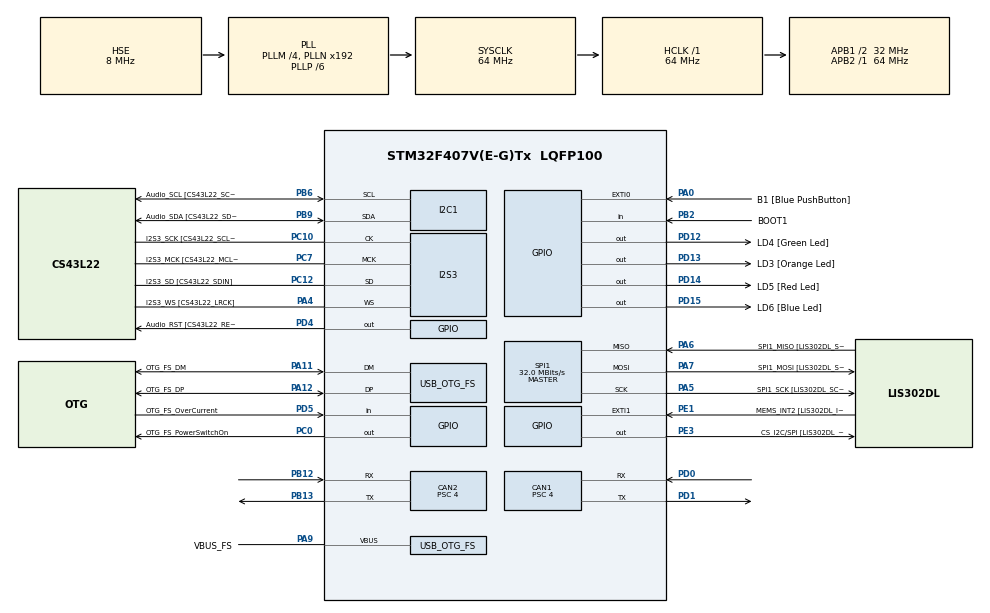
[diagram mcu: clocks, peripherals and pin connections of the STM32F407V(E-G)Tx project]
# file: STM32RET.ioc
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CAN1.BS1=CAN_BS1_13TQ
CAN1.BS2=CAN_BS2_2TQ
CAN1.CalculateBaudRate=500000
CAN1.CalculateTimeBit=2000
CAN1.CalculateTimeQuantum=125.0
CAN1.Mode=CAN_MODE_NORMAL
CAN1.Prescaler=4
CAN2.BS1=CAN_BS1_13TQ
CAN2.BS2=CAN_BS2_2TQ
CAN2.CalculateBaudRate=500000
CAN2.CalculateTimeBit=2000
CAN2.CalculateTimeQuantum=125.0
CAN2.Prescaler=4
I2S3.AudioFreq=I2S_AUDIOFREQ_32K
I2S3.AudioFreq-Half_Duplex_Master=I2S_AUDIOFREQ_96K
I2S3.ErrorAudioFreq=1.72 %
I2S3.ErrorAudioFreq-Half_Duplex_Master=0.8 %
I2S3.FullDuplexMode=I2S_FULLDUPLEXMODE_DISABLE
I2S3.Instance=SPI$Index
I2S3.RealAudioFreq=32.552 KHz
I2S3.RealAudioFreq-Half_Duplex_Master=96.774 KHz
I2S3.VirtualMode=I2S_MODE_MASTER
Mcu.Family=STM32F4
Mcu.Name=STM32F407V(E-G)Tx
Mcu.Package=LQFP100
NVIC.CAN1_RX0_IRQn=true\:0\:0\:false\:false\:true\:true\:true\:true
NVIC.CAN2_RX0_IRQn=true\:0\:0\:false\:false\:true\:true\:true\:true
NVIC.OTG_FS_IRQn=true\:0\:0\:false\:false\:true\:true\:true\:true
NVIC.PriorityGroup=NVIC_PRIORITYGROUP_0
PA0-WKUP.GPIO_Label=B1 [Blue PushButton]
PA0-WKUP.GPIO_ModeDefaultEXTI=GPIO_MODE_EVT_RISING
PA0-WKUP.GPIO_PuPd=GPIO_NOPULL
PA0-WKUP.Signal=GPXTI0
PA10.GPIO_Label=OTG_FS_ID
PA10.GPIO_Mode=GPIO_MODE_AF_PP
PA10.GPIO_PuPd=GPIO_NOPULL
PA10.GPIO_Speed=GPIO_SPEED_FREQ_LOW
PA10.Signal=USB_OTG_FS_ID
PA11.GPIO_Label=OTG_FS_DM
PA11.GPIO_Mode=GPIO_MODE_AF_PP
PA11.GPIO_PuPd=GPIO_NOPULL
PA11.GPIO_Speed=GPIO_SPEED_FREQ_LOW
PA11.Mode=Device_Only
PA11.Signal=USB_OTG_FS_DM
PA12.GPIO_Label=OTG_FS_DP
PA12.GPIO_Mode=GPIO_MODE_AF_PP
PA12.GPIO_PuPd=GPIO_NOPULL
PA12.GPIO_Speed=GPIO_SPEED_FREQ_LOW
PA12.Mode=Device_Only
PA12.Signal=USB_OTG_FS_DP
PA13.GPIO_Label=SWDIO
PA13.Mode=Serial_Wire
PA13.Signal=SYS_JTMS-SWDIO
PA14.GPIO_Label=SWCLK
PA14.Mode=Serial_Wire
PA14.Signal=SYS_JTCK-SWCLK
PA4.GPIO_Label=I2S3_WS [CS43L22_LRCK]
PA4.GPIO_Mode=GPIO_MODE_AF_PP
PA4.GPIO_PuPd=GPIO_NOPULL
PA4.GPIO_Speed=GPIO_SPEED_FREQ_LOW
PA4.Mode=Half_Duplex_Master
PA4.Signal=I2S3_WS
PA5.GPIO_Label=SPI1_SCK [LIS302DL_SCL/SPC]
PA5.GPIO_Mode=GPIO_MODE_AF_PP
PA5.GPIO_PuPd=GPIO_NOPULL
PA5.GPIO_Speed=GPIO_SPEED_FREQ_LOW
PA5.Mode=Full_Duplex_Master
PA5.Signal=SPI1_SCK
PA6.GPIO_Label=SPI1_MISO [LIS302DL_SDO]
PA6.GPIO_Mode=GPIO_MODE_AF_PP
PA6.GPIO_PuPd=GPIO_NOPULL
PA6.GPIO_Speed=GPIO_SPEED_FREQ_LOW
PA6.Mode=Full_Duplex_Master
PA6.Signal=SPI1_MISO
PA7.GPIO_Label=SPI1_MOSI [LIS302DL_SDA/SDI/SDO]
PA7.GPIO_Mode=GPIO_MODE_AF_PP
PA7.GPIO_PuPd=GPIO_NOPULL
PA7.GPIO_Speed=GPIO_SPEED_FREQ_LOW
PA7.Mode=Full_Duplex_Master
PA7.Signal=SPI1_MOSI
PA9.GPIO_Label=VBUS_FS
PA9.GPIO_Mode=GPIO_MODE_INPUT
PA9.GPIO_PuPd=GPIO_NOPULL
PA9.Mode=Activate_VBUS
PA9.Signal=USB_OTG_FS_VBUS
PB10.GPIO_Label=CLK_IN [MP45DT02_CLK]
PB10.GPIO_Mode=GPIO_MODE_AF_PP
PB10.GPIO_PuPd=GPIO_NOPULL
PB10.GPIO_Speed=GPIO_SPEED_FREQ_LOW
PB10.Signal=I2S2_CK
PB12.GPIO_PuPd=GPIO_NOPULL
PB12.GPIO_Speed=GPIO_SPEED_FREQ_MEDIUM
PB12.Mode=CAN_Activate
PB12.Signal=CAN2_RX
PB13.GPIO_Speed=GPIO_SPEED_FREQ_MEDIUM
PB13.Mode=CAN_Activate
PB13.Signal=CAN2_TX
PB2.GPIO_Label=BOOT1
PB2.GPIO_Mode=GPIO_MODE_INPUT
PB2.GPIO_PuPd=GPIO_NOPULL
PB2.Signal=GPIO_Input
PB3.GPIO_Label=SWO
PB3.Signal=SYS_JTDO-SWO
PB6.GPIO_Label=Audio_SCL [CS43L22_SCL]
PB6.GPIO_Mode=GPIO_MODE_AF_OD
PB6.GPIO_Pu=GPIO_PULLUP
PB6.GPIO_PuPd=GPIO_NOPULL
PB6.GPIO_Speed=GPIO_SPEED_FREQ_LOW
PB6.Mode=I2C
PB6.Signal=I2C1_SCL
PB9.GPIO_Label=Audio_SDA [CS43L22_SDA]
PB9.GPIO_Mode=GPIO_MODE_AF_OD
PB9.GPIO_Pu=GPIO_PULLUP
PB9.GPIO_PuPd=GPIO_NOPULL
PB9.GPIO_Speed=GPIO_SPEED_FREQ_LOW
PB9.Mode=I2C
PB9.Signal=I2C1_SDA
PC0.GPIO_Label=OTG_FS_PowerSwitchOn
PC0.GPIO_PuPd=GPIO_NOPULL
PC0.GPIO_Speed=GPIO_SPEED_FREQ_LOW
PC0.PinState=GPIO_PIN_SET
PC0.Signal=GPIO_Output
PC10.GPIO_Label=I2S3_SCK [CS43L22_SCLK]
PC10.GPIO_Mode=GPIO_MODE_AF_PP
PC10.GPIO_PuPd=GPIO_NOPULL
PC10.GPIO_Speed=GPIO_SPEED_FREQ_LOW
PC10.Mode=Half_Duplex_Master
PC10.Signal=I2S3_CK
PC12.GPIO_Label=I2S3_SD [CS43L22_SDIN]
PC12.GPIO_Mode=GPIO_MODE_AF_PP
PC12.GPIO_PuPd=GPIO_NOPULL
PC12.GPIO_Speed=GPIO_SPEED_FREQ_LOW
PC12.Mode=Half_Duplex_Master
PC12.Signal=I2S3_SD
PC14-OSC32_IN.GPIO_Label=PC14-OSC32_IN
PC14-OSC32_IN.Mode=LSE-External-Oscillator
PC14-OSC32_IN.Signal=RCC_OSC32_IN
PC15-OSC32_OUT.GPIO_Label=PC15-OSC32_OUT
PC15-OSC32_OUT.Mode=LSE-External-Oscillator
PC15-OSC32_OUT.Signal=RCC_OSC32_OUT
PC3.GPIO_Label=PDM_OUT [MP45DT02_DOUT]
PC3.GPIO_Mode=GPIO_MODE_AF_PP
PC3.GPIO_PuPd=GPIO_NOPULL
PC3.GPIO_Speed=GPIO_SPEED_FREQ_LOW
PC3.Signal=I2S2_SD
PC7.GPIO_Label=I2S3_MCK [CS43L22_MCLK]
PC7.GPIO_Mode=GPIO_MODE_AF_PP
PC7.GPIO_PuPd=GPIO_NOPULL
PC7.GPIO_Speed=GPIO_SPEED_FREQ_LOW
PC7.Mode=Master_Clock_Activated
PC7.Signal=I2S3_MCK
PD0.GPIO_PuPd=GPIO_NOPULL
PD0.GPIO_Speed=GPIO_SPEED_FREQ_MEDIUM
PD0.Mode=CAN_Activate
PD0.Signal=CAN1_RX
PD1.GPIO_PuPd=GPIO_NOPULL
PD1.GPIO_Speed=GPIO_SPEED_FREQ_MEDIUM
PD1.Mode=CAN_Activate
PD1.Signal=CAN1_TX
PD12.GPIO_Label=LD4 [Green Led]
PD12.GPIO_PuPd=GPIO_NOPULL
PD12.GPIO_Speed=GPIO_SPEED_FREQ_LOW
PD12.Signal=GPIO_Output
PD13.GPIO_Label=LD3 [Orange Led]
PD13.GPIO_PuPd=GPIO_NOPULL
PD13.GPIO_Speed=GPIO_SPEED_FREQ_LOW
PD13.Signal=GPIO_Output
PD14.GPIO_Label=LD5 [Red Led]
PD14.GPIO_PuPd=GPIO_NOPULL
PD14.GPIO_Speed=GPIO_SPEED_FREQ_LOW
PD14.Signal=GPIO_Output
PD15.GPIO_Label=LD6 [Blue Led]
PD15.GPIO_PuPd=GPIO_NOPULL
PD15.GPIO_Speed=GPIO_SPEED_FREQ_LOW
PD15.Signal=GPIO_Output
PD4.GPIO_Label=Audio_RST [CS43L22_RESET]
PD4.GPIO_PuPd=GPIO_NOPULL
PD4.GPIO_Speed=GPIO_SPEED_FREQ_LOW
PD4.Signal=GPIO_Output
PD5.GPIO_Label=OTG_FS_OverCurrent
PD5.GPIO_Mode=GPIO_MODE_INPUT
PD5.GPIO_PuPd=GPIO_NOPULL
PD5.Signal=GPIO_Input
PE1.GPIO_Label=MEMS_INT2 [LIS302DL_INT2]
PE1.GPIO_ModeDefaultEXTI=GPIO_MODE_EVT_RISING
PE1.GPIO_PuPd=GPIO_NOPULL
PE1.Signal=GPXTI1
PE3.GPIO_Label=CS_I2C/SPI [LIS302DL_CS_I2C/SPI]
PE3.GPIO_PuPd=GPIO_NOPULL
PE3.GPIO_Speed=GPIO_SPEED_FREQ_LOW
PE3.Signal=GPIO_Output
PH0-OSC_IN.GPIO_Label=PH0-OSC_IN
PH0-OSC_IN.Mode=HSE-External-Oscillator
PH0-OSC_IN.Signal=RCC_OSC_IN
PH1-OSC_OUT.GPIO_Label=PH1-OSC_OUT
PH1-OSC_OUT.Mode=HSE-External-Oscillator
PH1-OSC_OUT.Signal=RCC_OSC_OUT
ProjectManager.HeapSize=0x200
ProjectManager.StackSize=0x400
ProjectManager.TargetToolchain=STM32CubeIDE
RCC.48MHZClocksFreq_Value=48000000
RCC.AHBFreq_Value=64000000
RCC.APB1CLKDivider=RCC_HCLK_DIV2
RCC.APB1Freq_Value=32000000
RCC.APB1TimFreq_Value=64000000
RCC.APB2Freq_Value=64000000
RCC.APB2TimFreq_Value=64000000
RCC.CortexFreq_Value=64000000
RCC.HCLKFreq_Value=64000000
RCC.HSE_VALUE=8000000
RCC.HSI_VALUE=16000000
RCC.PLLI2SN=50
RCC.PLLM=4
RCC.PLLP=RCC_PLLP_DIV6
RCC.PLLQ=8
RCC.SYSCLKFreq_VALUE=64000000
RCC.SYSCLKSource=RCC_SYSCLKSOURCE_PLLCLK
RCC.VCOOutputFreq_Value=384000000
SPI1.BaudRatePrescaler-Full_Duplex_Master=SPI_BAUDRATEPRESCALER_2
SPI1.CalculateBaudRate=32.0 MBits/s
SPI1.CalculateBaudRate-Full_Duplex_Master=42.0 MBits/s
SPI1.Direction=SPI_DIRECTION_2LINES
SPI1.Mode=SPI_MODE_MASTER
SPI1.Mode-Full_Duplex_Master=SPI_MODE_MASTER
SPI1.VirtualType=VM_MASTER
USB_DEVICE.CLASS_NAME_FS=CDC
USB_DEVICE.PRODUCT_STRING_CDC_FS=STM32 Virtual dpons ComPort
USB_DEVICE.VirtualMode-CDC_FS=Cdc
USB_DEVICE.VirtualModeFS=Cdc_FS
USB_OTG_FS.VirtualMode=Device_Only
VP_USB_DEVICE_VS_USB_DEVICE_CDC_FS.Mode=CDC_FS
board=STM32F407G-DISC1

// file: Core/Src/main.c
/* USER CODE BEGIN Header */
/**
  ******************************************************************************
  * @file           : main.c
  * @brief          : Main program body
  ******************************************************************************
  * @attention
  *
  * Copyright (c) 2026 STMicroelectronics.
  * All rights reserved.
  *
  * This software is licensed under terms that can be found in the LICENSE file
  * in the root directory of this software component.
  * If no LICENSE file comes with this software, it is provided AS-IS.
  *
  ******************************************************************************
  */
/* USER CODE END Header */
#include "main.h"
#include "usb_device.h"

/* USER CODE BEGIN Includes */
#include "gvret_comm.h"
#include "can_manager.h"

#include "comm_buffer.h"
#include "settings.h"

#include "usbd_cdc_if.h"
/* USER CODE END Includes */

/* USER CODE BEGIN PM */
#define SER_BUFF_FLUSH_INTERVAL 10
#define SER_RCV_MAX_BATCH 128
/* USER CODE END PM */

CAN_HandleTypeDef hcan1;
CAN_HandleTypeDef hcan2;

I2C_HandleTypeDef hi2c1;

I2S_HandleTypeDef hi2s3;

SPI_HandleTypeDef hspi1;

/* USER CODE BEGIN PV */
uint32_t last_flush = 0;

/* USER CODE END PV */

void SystemClock_Config(void);
static void MX_GPIO_Init(void);
static void MX_I2C1_Init(void);
static void MX_I2S3_Init(void);
static void MX_SPI1_Init(void);
static void MX_CAN1_Init(void);
static void MX_CAN2_Init(void);

int main(void)
{

  /* MCU Configuration--------------------------------------------------------*/

  /* Reset of all peripherals, Initializes the Flash interface and the Systick. */
  HAL_Init();

  /* Configure the system clock */
  SystemClock_Config();

  /* Initialize all configured peripherals */
  MX_GPIO_Init();
  MX_I2C1_Init();
  MX_I2S3_Init();
  MX_SPI1_Init();
  MX_CAN1_Init();
  MX_USB_DEVICE_Init();
  MX_CAN2_Init();

  /* Infinite loop */
  /* USER CODE BEGIN WHILE */
  while (1)
  {
	// Read CAN buses
	COMM_BufferTypeDef* gvret_buffer = GVRET_Get_Serial_Buffer();
	uint32_t serial_length = COMM_Get_Available_Bytes(gvret_buffer);

	// If the max time has passed or the buffer is almost filled then send buffered data out
	if (HAL_GetTick() - last_flush > SER_BUFF_FLUSH_INTERVAL || serial_length > COMM_BUFF_SIZE - BUFF_SIZE_THRESHOLD) {
		last_flush = HAL_GetTick();

		while (serial_length > 0) {
			// Turn on orange led while processing RX buffer queue
			HAL_GPIO_WritePin(LD3_GPIO_Port, LD3_Pin, GPIO_PIN_SET);

			// Send current buffer through USB
			CDC_Transmit_FS(gvret_buffer->COMM_Buffer, gvret_buffer->COMM_Buffer_Len);
			COMM_Buffer_Clear(gvret_buffer);

			CAN_ProcessNextRxBufferBatch();
			serial_length = COMM_Get_Available_Bytes(gvret_buffer);

			HAL_GPIO_WritePin(LD3_GPIO_Port, LD3_Pin, GPIO_PIN_RESET);
		}
	}

	USB_Msg_Buffer* buff = Pop_USB_Msg();
	for (uint32_t i = 0; buff != NULL && i < buff->Len; i++) {
		// Turn on green led while receiving data from usb
		HAL_GPIO_WritePin(LD4_GPIO_Port, LD4_Pin, GPIO_PIN_SET);
		GVRET_Process_Incoming_Byte(buff->Buffer[i]);
		HAL_GPIO_WritePin(LD4_GPIO_Port, LD4_Pin, GPIO_PIN_RESET);
	}

    /* USER CODE END WHILE */

  }
}

void SystemClock_Config(void)
{
  RCC_OscInitTypeDef RCC_OscInitStruct = {0};
  RCC_ClkInitTypeDef RCC_ClkInitStruct = {0};

  /** Configure the main internal regulator output voltage
  */
  __HAL_RCC_PWR_CLK_ENABLE();
  __HAL_PWR_VOLTAGESCALING_CONFIG(PWR_REGULATOR_VOLTAGE_SCALE1);

  /** Initializes the RCC Oscillators according to the specified parameters
  * in the RCC_OscInitTypeDef structure.
  */
  RCC_OscInitStruct.OscillatorType = RCC_OSCILLATORTYPE_HSE;
  RCC_OscInitStruct.HSEState = RCC_HSE_ON;
  RCC_OscInitStruct.PLL.PLLState = RCC_PLL_ON;
  RCC_OscInitStruct.PLL.PLLSource = RCC_PLLSOURCE_HSE;
  RCC_OscInitStruct.PLL.PLLM = 4;
  RCC_OscInitStruct.PLL.PLLN = 192;
  RCC_OscInitStruct.PLL.PLLP = RCC_PLLP_DIV6;
  RCC_OscInitStruct.PLL.PLLQ = 8;
  if (HAL_RCC_OscConfig(&RCC_OscInitStruct) != HAL_OK)
  {
    Error_Handler();
  }

  /** Initializes the CPU, AHB and APB buses clocks
  */
  RCC_ClkInitStruct.ClockType = RCC_CLOCKTYPE_HCLK|RCC_CLOCKTYPE_SYSCLK
                              |RCC_CLOCKTYPE_PCLK1|RCC_CLOCKTYPE_PCLK2;
  RCC_ClkInitStruct.SYSCLKSource = RCC_SYSCLKSOURCE_PLLCLK;
  RCC_ClkInitStruct.AHBCLKDivider = RCC_SYSCLK_DIV1;
  RCC_ClkInitStruct.APB1CLKDivider = RCC_HCLK_DIV2;
  RCC_ClkInitStruct.APB2CLKDivider = RCC_HCLK_DIV1;

  if (HAL_RCC_ClockConfig(&RCC_ClkInitStruct, FLASH_LATENCY_2) != HAL_OK)
  {
    Error_Handler();
  }
}

static void MX_CAN1_Init(void)
{

	/* USER CODE BEGIN CAN1_Init 0 */
	CAN_FilterTypeDef  sFilterConfig;
	/* USER CODE END CAN1_Init 0 */

	hcan1.Instance = CAN1;
	hcan1.Init.Prescaler = 4;
	hcan1.Init.Mode = CAN_MODE_NORMAL;
	hcan1.Init.SyncJumpWidth = CAN_SJW_1TQ;
	hcan1.Init.TimeSeg1 = CAN_BS1_13TQ;
	hcan1.Init.TimeSeg2 = CAN_BS2_2TQ;
	hcan1.Init.TimeTriggeredMode = DISABLE;
	hcan1.Init.AutoBusOff = DISABLE;
	hcan1.Init.AutoWakeUp = DISABLE;
	hcan1.Init.AutoRetransmission = DISABLE;
	hcan1.Init.ReceiveFifoLocked = DISABLE;
	hcan1.Init.TransmitFifoPriority = DISABLE;
	if (HAL_CAN_Init(&hcan1) != HAL_OK)
	{
		Error_Handler();
	}
	/* USER CODE BEGIN CAN1_Init 2 */
	/* The CAN filter configuration */
	sFilterConfig.FilterBank = 0;
	sFilterConfig.FilterMode = CAN_FILTERMODE_IDMASK;
	sFilterConfig.FilterScale = CAN_FILTERSCALE_32BIT;
	sFilterConfig.FilterIdHigh = 0x0000;
	sFilterConfig.FilterIdLow = 0x0000;
	sFilterConfig.FilterMaskIdHigh = 0x0000;
	sFilterConfig.FilterMaskIdLow = 0x0000;
	sFilterConfig.FilterFIFOAssignment = CAN_RX_FIFO0; /* The data will be received in FIFO0 */
	sFilterConfig.FilterActivation = ENABLE;
	sFilterConfig.SlaveStartFilterBank = 14;

	if (HAL_CAN_ConfigFilter(&hcan1, &sFilterConfig) != HAL_OK)
	{
		/* Filter configuration Error */
		Error_Handler();
	}

	/* Starting the CAN peripheral */
	if (HAL_CAN_Start(&hcan1) != HAL_OK)
	{
		/* Start Error */
		Error_Handler();
	}

	/* Activate CAN RX notification on FIFO0 */
	if (HAL_CAN_ActivateNotification(&hcan1, CAN_IT_RX_FIFO0_MSG_PENDING) != HAL_OK)
	{
		/* Notification Error */
		Error_Handler();
	}

	Settings_Init_CAN1(&hcan1);
	/* USER CODE END CAN1_Init 2 */

}

static void MX_CAN2_Init(void)
{

	/* USER CODE BEGIN CAN2_Init 0 */
	CAN_FilterTypeDef  sFilterConfig;
	/* USER CODE END CAN2_Init 0 */

	hcan2.Instance = CAN2;
	hcan2.Init.Prescaler = 4;
	hcan2.Init.Mode = CAN_MODE_NORMAL;
	hcan2.Init.SyncJumpWidth = CAN_SJW_1TQ;
	hcan2.Init.TimeSeg1 = CAN_BS1_13TQ;
	hcan2.Init.TimeSeg2 = CAN_BS2_2TQ;
	hcan2.Init.TimeTriggeredMode = DISABLE;
	hcan2.Init.AutoBusOff = DISABLE;
	hcan2.Init.AutoWakeUp = DISABLE;
	hcan2.Init.AutoRetransmission = DISABLE;
	hcan2.Init.ReceiveFifoLocked = DISABLE;
	hcan2.Init.TransmitFifoPriority = DISABLE;
	if (HAL_CAN_Init(&hcan2) != HAL_OK)
	{
		Error_Handler();
	}
	/* USER CODE BEGIN CAN2_Init 2 */
	/* The CAN filter configuration */
	sFilterConfig.FilterBank = 14;
	sFilterConfig.FilterMode = CAN_FILTERMODE_IDMASK;
	sFilterConfig.FilterScale = CAN_FILTERSCALE_32BIT;
	sFilterConfig.FilterIdHigh = 0x0000;
	sFilterConfig.FilterIdLow = 0x0000;
	sFilterConfig.FilterMaskIdHigh = 0x0000;
	sFilterConfig.FilterMaskIdLow = 0x0000;
	sFilterConfig.FilterFIFOAssignment = CAN_RX_FIFO0; /* The data will be received in FIFO0 */
	sFilterConfig.FilterActivation = ENABLE;
	sFilterConfig.SlaveStartFilterBank = 14;

	if (HAL_CAN_ConfigFilter(&hcan2, &sFilterConfig) != HAL_OK)
	{
		/* Filter configuration Error */
		Error_Handler();
	}

	/* Starting the CAN peripheral */
	if (HAL_CAN_Start(&hcan2) != HAL_OK)
	{
		/* Start Error */
		Error_Handler();
	}

	/* Activate CAN RX notification on FIFO0 */
	if (HAL_CAN_ActivateNotification(&hcan2, CAN_IT_RX_FIFO0_MSG_PENDING) != HAL_OK)
	{
		/* Notification Error */
		Error_Handler();
	}

	Settings_Init_CAN2(&hcan2);
	/* USER CODE END CAN2_Init 2 */

}

static void MX_I2C1_Init(void)
{

  hi2c1.Instance = I2C1;
  hi2c1.Init.ClockSpeed = 100000;
  hi2c1.Init.DutyCycle = I2C_DUTYCYCLE_2;
  hi2c1.Init.OwnAddress1 = 0;
  hi2c1.Init.AddressingMode = I2C_ADDRESSINGMODE_7BIT;
  hi2c1.Init.DualAddressMode = I2C_DUALADDRESS_DISABLE;
  hi2c1.Init.OwnAddress2 = 0;
  hi2c1.Init.GeneralCallMode = I2C_GENERALCALL_DISABLE;
  hi2c1.Init.NoStretchMode = I2C_NOSTRETCH_DISABLE;
  if (HAL_I2C_Init(&hi2c1) != HAL_OK)
  {
    Error_Handler();
  }

}

static void MX_I2S3_Init(void)
{

  hi2s3.Instance = SPI3;
  hi2s3.Init.Mode = I2S_MODE_MASTER_TX;
  hi2s3.Init.Standard = I2S_STANDARD_PHILIPS;
  hi2s3.Init.DataFormat = I2S_DATAFORMAT_16B;
  hi2s3.Init.MCLKOutput = I2S_MCLKOUTPUT_ENABLE;
  hi2s3.Init.AudioFreq = I2S_AUDIOFREQ_32K;
  hi2s3.Init.CPOL = I2S_CPOL_LOW;
  hi2s3.Init.ClockSource = I2S_CLOCK_PLL;
  hi2s3.Init.FullDuplexMode = I2S_FULLDUPLEXMODE_DISABLE;
  if (HAL_I2S_Init(&hi2s3) != HAL_OK)
  {
    Error_Handler();
  }

}

static void MX_SPI1_Init(void)
{

  /* SPI1 parameter configuration*/
  hspi1.Instance = SPI1;
  hspi1.Init.Mode = SPI_MODE_MASTER;
  hspi1.Init.Direction = SPI_DIRECTION_2LINES;
  hspi1.Init.DataSize = SPI_DATASIZE_8BIT;
  hspi1.Init.CLKPolarity = SPI_POLARITY_LOW;
  hspi1.Init.CLKPhase = SPI_PHASE_1EDGE;
  hspi1.Init.NSS = SPI_NSS_SOFT;
  hspi1.Init.BaudRatePrescaler = SPI_BAUDRATEPRESCALER_2;
  hspi1.Init.FirstBit = SPI_FIRSTBIT_MSB;
  hspi1.Init.TIMode = SPI_TIMODE_DISABLE;
  hspi1.Init.CRCCalculation = SPI_CRCCALCULATION_DISABLE;
  hspi1.Init.CRCPolynomial = 10;
  if (HAL_SPI_Init(&hspi1) != HAL_OK)
  {
    Error_Handler();
  }

}

static void MX_GPIO_Init(void)
{
  GPIO_InitTypeDef GPIO_InitStruct = {0};

  /* GPIO Ports Clock Enable */
  __HAL_RCC_GPIOE_CLK_ENABLE();
  __HAL_RCC_GPIOC_CLK_ENABLE();
  __HAL_RCC_GPIOH_CLK_ENABLE();
  __HAL_RCC_GPIOA_CLK_ENABLE();
  __HAL_RCC_GPIOB_CLK_ENABLE();
  __HAL_RCC_GPIOD_CLK_ENABLE();

  /*Configure GPIO pin Output Level */
  HAL_GPIO_WritePin(CS_I2C_SPI_GPIO_Port, CS_I2C_SPI_Pin, GPIO_PIN_RESET);

  /*Configure GPIO pin Output Level */
  HAL_GPIO_WritePin(OTG_FS_PowerSwitchOn_GPIO_Port, OTG_FS_PowerSwitchOn_Pin, GPIO_PIN_SET);

  /*Configure GPIO pin Output Level */
  HAL_GPIO_WritePin(GPIOD, LD4_Pin|LD3_Pin|LD5_Pin|LD6_Pin
                          |Audio_RST_Pin, GPIO_PIN_RESET);

  /*Configure GPIO pin : CS_I2C_SPI_Pin */
  GPIO_InitStruct.Pin = CS_I2C_SPI_Pin;
  GPIO_InitStruct.Mode = GPIO_MODE_OUTPUT_PP;
  GPIO_InitStruct.Pull = GPIO_NOPULL;
  GPIO_InitStruct.Speed = GPIO_SPEED_FREQ_LOW;
  HAL_GPIO_Init(CS_I2C_SPI_GPIO_Port, &GPIO_InitStruct);

  /*Configure GPIO pin : OTG_FS_PowerSwitchOn_Pin */
  GPIO_InitStruct.Pin = OTG_FS_PowerSwitchOn_Pin;
  GPIO_InitStruct.Mode = GPIO_MODE_OUTPUT_PP;
  GPIO_InitStruct.Pull = GPIO_NOPULL;
  GPIO_InitStruct.Speed = GPIO_SPEED_FREQ_LOW;
  HAL_GPIO_Init(OTG_FS_PowerSwitchOn_GPIO_Port, &GPIO_InitStruct);

  /*Configure GPIO pin : PDM_OUT_Pin */
  GPIO_InitStruct.Pin = PDM_OUT_Pin;
  GPIO_InitStruct.Mode = GPIO_MODE_AF_PP;
  GPIO_InitStruct.Pull = GPIO_NOPULL;
  GPIO_InitStruct.Speed = GPIO_SPEED_FREQ_LOW;
  GPIO_InitStruct.Alternate = GPIO_AF5_SPI2;
  HAL_GPIO_Init(PDM_OUT_GPIO_Port, &GPIO_InitStruct);

  /*Configure GPIO pin : B1_Pin */
  GPIO_InitStruct.Pin = B1_Pin;
  GPIO_InitStruct.Mode = GPIO_MODE_EVT_RISING;
  GPIO_InitStruct.Pull = GPIO_NOPULL;
  HAL_GPIO_Init(B1_GPIO_Port, &GPIO_InitStruct);

  /*Configure GPIO pin : BOOT1_Pin */
  GPIO_InitStruct.Pin = BOOT1_Pin;
  GPIO_InitStruct.Mode = GPIO_MODE_INPUT;
  GPIO_InitStruct.Pull = GPIO_NOPULL;
  HAL_GPIO_Init(BOOT1_GPIO_Port, &GPIO_InitStruct);

  /*Configure GPIO pin : CLK_IN_Pin */
  GPIO_InitStruct.Pin = CLK_IN_Pin;
  GPIO_InitStruct.Mode = GPIO_MODE_AF_PP;
  GPIO_InitStruct.Pull = GPIO_NOPULL;
  GPIO_InitStruct.Speed = GPIO_SPEED_FREQ_LOW;
  GPIO_InitStruct.Alternate = GPIO_AF5_SPI2;
  HAL_GPIO_Init(CLK_IN_GPIO_Port, &GPIO_InitStruct);

  /*Configure GPIO pins : LD4_Pin LD3_Pin LD5_Pin LD6_Pin
                           Audio_RST_Pin */
  GPIO_InitStruct.Pin = LD4_Pin|LD3_Pin|LD5_Pin|LD6_Pin
                          |Audio_RST_Pin;
  GPIO_InitStruct.Mode = GPIO_MODE_OUTPUT_PP;
  GPIO_InitStruct.Pull = GPIO_NOPULL;
  GPIO_InitStruct.Speed = GPIO_SPEED_FREQ_LOW;
  HAL_GPIO_Init(GPIOD, &GPIO_InitStruct);

  /*Configure GPIO pin : OTG_FS_OverCurrent_Pin */
  GPIO_InitStruct.Pin = OTG_FS_OverCurrent_Pin;
  GPIO_InitStruct.Mode = GPIO_MODE_INPUT;
  GPIO_InitStruct.Pull = GPIO_NOPULL;
  HAL_GPIO_Init(OTG_FS_OverCurrent_GPIO_Port, &GPIO_InitStruct);

  /*Configure GPIO pin : MEMS_INT2_Pin */
  GPIO_InitStruct.Pin = MEMS_INT2_Pin;
  GPIO_InitStruct.Mode = GPIO_MODE_EVT_RISING;
  GPIO_InitStruct.Pull = GPIO_NOPULL;
  HAL_GPIO_Init(MEMS_INT2_GPIO_Port, &GPIO_InitStruct);

}

/* USER CODE BEGIN 4 */
void HAL_CAN_RxFifo0MsgPendingCallback(CAN_HandleTypeDef *can_handle)
{
	CAN_RxFrameTypeDef can_frame;

	if (HAL_CAN_GetRxMessage(can_handle, CAN_RX_FIFO0, &can_frame.Header, can_frame.Data) != HAL_OK)
	{
		/* Reception Error */
		Error_Handler();
	}

	if (can_handle == &hcan1) {
		CAN_DisplayFrame(&can_frame, 0);
	} else if (can_handle == &hcan2) {
		CAN_DisplayFrame(&can_frame, 1);
	} else {
		Error_Handler();
	}
}
/* USER CODE END 4 */

void Error_Handler(void)
{
  /* USER CODE BEGIN Error_Handler_Debug */
  /* User can add his own implementation to report the HAL error return state */
  __disable_irq();
  while (1)
  {
	  HAL_GPIO_WritePin(LD5_GPIO_Port, LD5_Pin, GPIO_PIN_SET);
	  HAL_Delay(1000);
  }
  /* USER CODE END Error_Handler_Debug */
}
